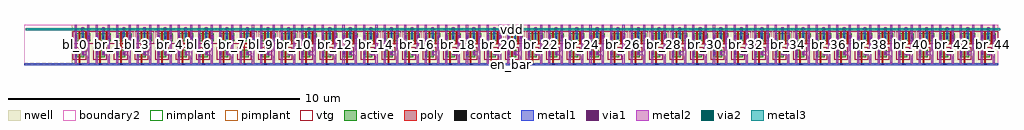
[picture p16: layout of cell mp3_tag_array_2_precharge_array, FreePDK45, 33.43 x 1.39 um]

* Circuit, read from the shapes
.subckt mp3_tag_array_2_precharge_array bl_0 bl_1 bl_10 bl_11 bl_12 bl_13 bl_14 bl_15 bl_16 bl_17 bl_18 bl_19 bl_2 bl_20 bl_21 bl_22 bl_23 bl_24 bl_25 bl_26 bl_27 bl_28 bl_29 bl_3 bl_30 bl_31 bl_32 bl_33 bl_34 bl_35 bl_36 bl_37 bl_38 bl_39 bl_4 bl_40 bl_41 bl_42 bl_43 bl_44 bl_5 bl_6 bl_7 bl_8 bl_9 br_0 br_1 br_10 br_11 br_12 br_13 br_14 br_15 br_16 br_17 br_18 br_19 br_2 br_20 br_21 br_22 br_23 br_24 br_25 br_26 br_27 br_28 br_29 br_3 br_30 br_31 br_32 br_33 br_34 br_35 br_36 br_37 br_38 br_39 br_4 br_40 br_41 br_42 br_43 br_44 br_5 br_6 br_7 br_8 br_9 en_bar vdd
M1 br_0 en_bar bl_0 vdd pfet w=0.27u l=0.05u
M2 vdd en_bar bl_0 vdd pfet w=0.27u l=0.05u
M3 br_0 en_bar vdd vdd pfet w=0.27u l=0.05u
M4 br_1 en_bar bl_1 vdd pfet w=0.27u l=0.05u
M5 vdd en_bar bl_1 vdd pfet w=0.27u l=0.05u
M6 br_1 en_bar vdd vdd pfet w=0.27u l=0.05u
M7 br_2 en_bar bl_2 vdd pfet w=0.27u l=0.05u
M8 vdd en_bar bl_2 vdd pfet w=0.27u l=0.05u
M9 br_2 en_bar vdd vdd pfet w=0.27u l=0.05u
M10 br_3 en_bar bl_3 vdd pfet w=0.27u l=0.05u
M11 vdd en_bar bl_3 vdd pfet w=0.27u l=0.05u
M12 br_3 en_bar vdd vdd pfet w=0.27u l=0.05u
M13 br_4 en_bar bl_4 vdd pfet w=0.27u l=0.05u
M14 vdd en_bar bl_4 vdd pfet w=0.27u l=0.05u
M15 br_4 en_bar vdd vdd pfet w=0.27u l=0.05u
M16 br_5 en_bar bl_5 vdd pfet w=0.27u l=0.05u
M17 vdd en_bar bl_5 vdd pfet w=0.27u l=0.05u
M18 br_5 en_bar vdd vdd pfet w=0.27u l=0.05u
M19 br_6 en_bar bl_6 vdd pfet w=0.27u l=0.05u
M20 vdd en_bar bl_6 vdd pfet w=0.27u l=0.05u
M21 br_6 en_bar vdd vdd pfet w=0.27u l=0.05u
M22 br_7 en_bar bl_7 vdd pfet w=0.27u l=0.05u
M23 vdd en_bar bl_7 vdd pfet w=0.27u l=0.05u
M24 br_7 en_bar vdd vdd pfet w=0.27u l=0.05u
M25 br_8 en_bar bl_8 vdd pfet w=0.27u l=0.05u
M26 vdd en_bar bl_8 vdd pfet w=0.27u l=0.05u
M27 br_8 en_bar vdd vdd pfet w=0.27u l=0.05u
M28 br_9 en_bar bl_9 vdd pfet w=0.27u l=0.05u
M29 vdd en_bar bl_9 vdd pfet w=0.27u l=0.05u
M30 br_9 en_bar vdd vdd pfet w=0.27u l=0.05u
M31 br_10 en_bar bl_10 vdd pfet w=0.27u l=0.05u
M32 vdd en_bar bl_10 vdd pfet w=0.27u l=0.05u
M33 br_10 en_bar vdd vdd pfet w=0.27u l=0.05u
M34 br_11 en_bar bl_11 vdd pfet w=0.27u l=0.05u
M35 vdd en_bar bl_11 vdd pfet w=0.27u l=0.05u
M36 br_11 en_bar vdd vdd pfet w=0.27u l=0.05u
M37 br_12 en_bar bl_12 vdd pfet w=0.27u l=0.05u
M38 vdd en_bar bl_12 vdd pfet w=0.27u l=0.05u
M39 br_12 en_bar vdd vdd pfet w=0.27u l=0.05u
M40 br_13 en_bar bl_13 vdd pfet w=0.27u l=0.05u
M41 vdd en_bar bl_13 vdd pfet w=0.27u l=0.05u
M42 br_13 en_bar vdd vdd pfet w=0.27u l=0.05u
M43 br_14 en_bar bl_14 vdd pfet w=0.27u l=0.05u
M44 vdd en_bar bl_14 vdd pfet w=0.27u l=0.05u
M45 br_14 en_bar vdd vdd pfet w=0.27u l=0.05u
M46 br_15 en_bar bl_15 vdd pfet w=0.27u l=0.05u
M47 vdd en_bar bl_15 vdd pfet w=0.27u l=0.05u
M48 br_15 en_bar vdd vdd pfet w=0.27u l=0.05u
M49 br_16 en_bar bl_16 vdd pfet w=0.27u l=0.05u
M50 vdd en_bar bl_16 vdd pfet w=0.27u l=0.05u
M51 br_16 en_bar vdd vdd pfet w=0.27u l=0.05u
M52 br_17 en_bar bl_17 vdd pfet w=0.27u l=0.05u
M53 vdd en_bar bl_17 vdd pfet w=0.27u l=0.05u
M54 br_17 en_bar vdd vdd pfet w=0.27u l=0.05u
M55 br_18 en_bar bl_18 vdd pfet w=0.27u l=0.05u
M56 vdd en_bar bl_18 vdd pfet w=0.27u l=0.05u
M57 br_18 en_bar vdd vdd pfet w=0.27u l=0.05u
M58 br_19 en_bar bl_19 vdd pfet w=0.27u l=0.05u
M59 vdd en_bar bl_19 vdd pfet w=0.27u l=0.05u
M60 br_19 en_bar vdd vdd pfet w=0.27u l=0.05u
M61 br_20 en_bar bl_20 vdd pfet w=0.27u l=0.05u
M62 vdd en_bar bl_20 vdd pfet w=0.27u l=0.05u
M63 br_20 en_bar vdd vdd pfet w=0.27u l=0.05u
M64 br_21 en_bar bl_21 vdd pfet w=0.27u l=0.05u
M65 vdd en_bar bl_21 vdd pfet w=0.27u l=0.05u
M66 br_21 en_bar vdd vdd pfet w=0.27u l=0.05u
M67 br_22 en_bar bl_22 vdd pfet w=0.27u l=0.05u
M68 vdd en_bar bl_22 vdd pfet w=0.27u l=0.05u
M69 br_22 en_bar vdd vdd pfet w=0.27u l=0.05u
M70 br_23 en_bar bl_23 vdd pfet w=0.27u l=0.05u
M71 vdd en_bar bl_23 vdd pfet w=0.27u l=0.05u
M72 br_23 en_bar vdd vdd pfet w=0.27u l=0.05u
M73 br_24 en_bar bl_24 vdd pfet w=0.27u l=0.05u
M74 vdd en_bar bl_24 vdd pfet w=0.27u l=0.05u
M75 br_24 en_bar vdd vdd pfet w=0.27u l=0.05u
M76 br_25 en_bar bl_25 vdd pfet w=0.27u l=0.05u
M77 vdd en_bar bl_25 vdd pfet w=0.27u l=0.05u
M78 br_25 en_bar vdd vdd pfet w=0.27u l=0.05u
M79 br_26 en_bar bl_26 vdd pfet w=0.27u l=0.05u
M80 vdd en_bar bl_26 vdd pfet w=0.27u l=0.05u
M81 br_26 en_bar vdd vdd pfet w=0.27u l=0.05u
M82 br_27 en_bar bl_27 vdd pfet w=0.27u l=0.05u
M83 vdd en_bar bl_27 vdd pfet w=0.27u l=0.05u
M84 br_27 en_bar vdd vdd pfet w=0.27u l=0.05u
M85 br_28 en_bar bl_28 vdd pfet w=0.27u l=0.05u
M86 vdd en_bar bl_28 vdd pfet w=0.27u l=0.05u
M87 br_28 en_bar vdd vdd pfet w=0.27u l=0.05u
M88 br_29 en_bar bl_29 vdd pfet w=0.27u l=0.05u
M89 vdd en_bar bl_29 vdd pfet w=0.27u l=0.05u
M90 br_29 en_bar vdd vdd pfet w=0.27u l=0.05u
M91 br_30 en_bar bl_30 vdd pfet w=0.27u l=0.05u
M92 vdd en_bar bl_30 vdd pfet w=0.27u l=0.05u
M93 br_30 en_bar vdd vdd pfet w=0.27u l=0.05u
M94 br_31 en_bar bl_31 vdd pfet w=0.27u l=0.05u
M95 vdd en_bar bl_31 vdd pfet w=0.27u l=0.05u
M96 br_31 en_bar vdd vdd pfet w=0.27u l=0.05u
M97 br_32 en_bar bl_32 vdd pfet w=0.27u l=0.05u
M98 vdd en_bar bl_32 vdd pfet w=0.27u l=0.05u
M99 br_32 en_bar vdd vdd pfet w=0.27u l=0.05u
M100 br_33 en_bar bl_33 vdd pfet w=0.27u l=0.05u
M101 vdd en_bar bl_33 vdd pfet w=0.27u l=0.05u
M102 br_33 en_bar vdd vdd pfet w=0.27u l=0.05u
M103 br_34 en_bar bl_34 vdd pfet w=0.27u l=0.05u
M104 vdd en_bar bl_34 vdd pfet w=0.27u l=0.05u
M105 br_34 en_bar vdd vdd pfet w=0.27u l=0.05u
M106 br_35 en_bar bl_35 vdd pfet w=0.27u l=0.05u
M107 vdd en_bar bl_35 vdd pfet w=0.27u l=0.05u
M108 br_35 en_bar vdd vdd pfet w=0.27u l=0.05u
M109 br_36 en_bar bl_36 vdd pfet w=0.27u l=0.05u
M110 vdd en_bar bl_36 vdd pfet w=0.27u l=0.05u
M111 br_36 en_bar vdd vdd pfet w=0.27u l=0.05u
M112 br_37 en_bar bl_37 vdd pfet w=0.27u l=0.05u
M113 vdd en_bar bl_37 vdd pfet w=0.27u l=0.05u
M114 br_37 en_bar vdd vdd pfet w=0.27u l=0.05u
M115 br_38 en_bar bl_38 vdd pfet w=0.27u l=0.05u
M116 vdd en_bar bl_38 vdd pfet w=0.27u l=0.05u
M117 br_38 en_bar vdd vdd pfet w=0.27u l=0.05u
M118 br_39 en_bar bl_39 vdd pfet w=0.27u l=0.05u
M119 vdd en_bar bl_39 vdd pfet w=0.27u l=0.05u
M120 br_39 en_bar vdd vdd pfet w=0.27u l=0.05u
M121 br_40 en_bar bl_40 vdd pfet w=0.27u l=0.05u
M122 vdd en_bar bl_40 vdd pfet w=0.27u l=0.05u
M123 br_40 en_bar vdd vdd pfet w=0.27u l=0.05u
M124 br_41 en_bar bl_41 vdd pfet w=0.27u l=0.05u
M125 vdd en_bar bl_41 vdd pfet w=0.27u l=0.05u
M126 br_41 en_bar vdd vdd pfet w=0.27u l=0.05u
M127 br_42 en_bar bl_42 vdd pfet w=0.27u l=0.05u
M128 vdd en_bar bl_42 vdd pfet w=0.27u l=0.05u
M129 br_42 en_bar vdd vdd pfet w=0.27u l=0.05u
M130 br_43 en_bar bl_43 vdd pfet w=0.27u l=0.05u
M131 vdd en_bar bl_43 vdd pfet w=0.27u l=0.05u
M132 br_43 en_bar vdd vdd pfet w=0.27u l=0.05u
M133 br_44 en_bar bl_44 vdd pfet w=0.27u l=0.05u
M134 vdd en_bar bl_44 vdd pfet w=0.27u l=0.05u
M135 br_44 en_bar vdd vdd pfet w=0.27u l=0.05u
.ends

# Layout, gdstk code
import gdstk
lib = gdstk.Library(unit=1e-6, precision=5e-10)
def R(c, l, rs):  # rectangles x0, y0, x1, y1
    for r in rs: c.add(gdstk.rectangle(r[:2], r[2:], *l))
active = (1, 0)
nwell = (3, 0)
nimplant = (4, 0)
pimplant = (5, 0)
vtg = (6, 0)
poly = (9, 0)
contact = (10, 0)
metal1 = (11, 0)
via1 = (12, 0)
metal2 = (13, 0)
via2 = (14, 0)
metal3 = (15, 0)
boundary2 = (239, 0)

mp3_tag_array_2_contact_ = lib.new_cell('mp3_tag_array_2_contact_11')
R(mp3_tag_array_2_contact_, active, [(0,0.0225,0.09,0.1125)])
R(mp3_tag_array_2_contact_, nwell, [(-0.055,-0.0325,0.145,0.1675)])
R(mp3_tag_array_2_contact_, pimplant, [(0,0.0225,0.09,0.1125)])
R(mp3_tag_array_2_contact_, contact, [(0.0125,0.035,0.0775,0.1)])
R(mp3_tag_array_2_contact_, metal1, [(0.0125,0,0.0775,0.135)])
R(mp3_tag_array_2_contact_, boundary2, [(-0.055,-0.0325,0.145,0.1675)])

mp3_tag_array_2_pmos_m1_ = lib.new_cell('mp3_tag_array_2_pmos_m1_w0_270_sm1_dm1')
R(mp3_tag_array_2_pmos_m1_, active, [(0,0,0.305,0.27)])
R(mp3_tag_array_2_pmos_m1_, nwell, [(-0.08,-0.08,0.385,0.35)])
R(mp3_tag_array_2_pmos_m1_, pimplant, [(0,0,0.305,0.27)])
R(mp3_tag_array_2_pmos_m1_, vtg, [(-0.08,-0.08,0.385,0.35)])
R(mp3_tag_array_2_pmos_m1_, poly, [(0.1275,-0.055,0.1775,0.325), (0.1275,-0.055,0.1775,0.325)])
R(mp3_tag_array_2_pmos_m1_, metal1, [(0.0125,0.0675,0.0775,0.2025), (0.2275,0.0675,0.2925,0.2025)])
R(mp3_tag_array_2_pmos_m1_, boundary2, [(-0.08,-0.08,0.385,0.35)])
mp3_tag_array_2_pmos_m1_.add(gdstk.Reference(mp3_tag_array_2_contact_, (0,0.0675)))
mp3_tag_array_2_pmos_m1_.add(gdstk.Reference(mp3_tag_array_2_contact_, (0.215,0.0675)))
mp3_tag_array_2_pmos_m1_.add(gdstk.Label('G', (0.1525,0.135), layer=9, texttype=0))
mp3_tag_array_2_pmos_m1_.add(gdstk.Label('S', (0.045,0.135), layer=11, texttype=0))
mp3_tag_array_2_pmos_m1_.add(gdstk.Label('D', (0.26,0.135), layer=11, texttype=0))

c_mp3_tag_array_2_contact_ = lib.new_cell('mp3_tag_array_2_contact_14')
R(c_mp3_tag_array_2_contact_, poly, [(0.03,0,0.105,0.075)])
R(c_mp3_tag_array_2_contact_, contact, [(0.035,0.005,0.1,0.07)])
R(c_mp3_tag_array_2_contact_, metal1, [(0,0.005,0.135,0.07)])
R(c_mp3_tag_array_2_contact_, boundary2, [(0,0,0.135,0.075)])

c_mp3_tag_array_2_contact__ = lib.new_cell('mp3_tag_array_2_contact_22')
R(c_mp3_tag_array_2_contact__, active, [(0.0225,0,0.1125,0.09)])
R(c_mp3_tag_array_2_contact__, nwell, [(-0.0325,-0.055,0.1675,0.145)])
R(c_mp3_tag_array_2_contact__, nimplant, [(0.0225,0,0.1125,0.09)])
R(c_mp3_tag_array_2_contact__, contact, [(0.035,0.0125,0.1,0.0775)])
R(c_mp3_tag_array_2_contact__, metal1, [(0,0.0125,0.135,0.0775)])
R(c_mp3_tag_array_2_contact__, boundary2, [(-0.0325,-0.055,0.1675,0.145)])

c_mp3_tag_array_2_contact___ = lib.new_cell('mp3_tag_array_2_contact_17')
R(c_mp3_tag_array_2_contact___, metal1, [(0,0.035,0.135,0.1)])
R(c_mp3_tag_array_2_contact___, via1, [(0.035,0.035,0.1,0.1)])
R(c_mp3_tag_array_2_contact___, metal2, [(0.0325,0,0.1025,0.135)])
R(c_mp3_tag_array_2_contact___, boundary2, [(0,0,0.135,0.135)])

c_mp3_tag_array_2_contact____ = lib.new_cell('mp3_tag_array_2_contact_23')
R(c_mp3_tag_array_2_contact____, metal1, [(0.0025,0,0.0675,0.135)])
R(c_mp3_tag_array_2_contact____, via1, [(0.0025,0.035,0.0675,0.1)])
R(c_mp3_tag_array_2_contact____, metal2, [(0,0,0.07,0.135)])
R(c_mp3_tag_array_2_contact____, boundary2, [(0,0,0.07,0.135)])

mp3_tag_array_2_precharg = lib.new_cell('mp3_tag_array_2_precharge_0')
R(mp3_tag_array_2_precharg, nwell, [(0,0,0.705,1.34)])
R(mp3_tag_array_2_precharg, poly, [(0.24,-0.0375,0.29,0.0125), (0.265,-0.0375,0.29,0.0125), (0.24,-0.0125,0.29,0.165), (0.24,0.545,0.29,0.715), (0.24,0.665,0.505,0.715)])
R(mp3_tag_array_2_precharg, metal1, [(0,-0.045,0.705,0.02), (0.34,0.905,0.405,1.185), (0.34,1.1525,0.405,1.2175)])
R(mp3_tag_array_2_precharg, metal2, [(0.105,0,0.175,1.34), (0.105,0,0.175,1.34), (0.53,0,0.6,1.34), (0.53,0,0.6,1.34), (0.14,0.2875,0.1575,0.4225), (0.3725,0.2875,0.565,0.4225), (0.14,0.8375,0.1575,0.9725), (0.565,0.8375,0.5875,0.9725)])
R(mp3_tag_array_2_precharg, boundary2, [(0,0,0.705,1.34)])
mp3_tag_array_2_precharg.add(gdstk.Reference(mp3_tag_array_2_pmos_m1_, (0.1125,0.22)))
mp3_tag_array_2_precharg.add(gdstk.Reference(mp3_tag_array_2_pmos_m1_, (0.1125,0.77)))
mp3_tag_array_2_precharg.add(gdstk.Reference(mp3_tag_array_2_pmos_m1_, (0.3275,0.77)))
mp3_tag_array_2_precharg.add(gdstk.Reference(c_mp3_tag_array_2_contact_, (0.2225,-0.05)))
mp3_tag_array_2_precharg.add(gdstk.Reference(c_mp3_tag_array_2_contact__, (0.305,1.14)))
mp3_tag_array_2_precharg.add(gdstk.Reference(c_mp3_tag_array_2_contact___, (0.305,1.1175)))
mp3_tag_array_2_precharg.add(gdstk.Reference(c_mp3_tag_array_2_contact____, (0.1225,0.2875)))
mp3_tag_array_2_precharg.add(gdstk.Reference(c_mp3_tag_array_2_contact____, (0.3375,0.2875)))
mp3_tag_array_2_precharg.add(gdstk.Reference(c_mp3_tag_array_2_contact____, (0.1225,0.8375)))
mp3_tag_array_2_precharg.add(gdstk.Reference(c_mp3_tag_array_2_contact____, (0.5525,0.8375)))
mp3_tag_array_2_precharg.add(gdstk.Label('en_bar', (0.3525,-0.0125), layer=11, texttype=0))
mp3_tag_array_2_precharg.add(gdstk.Label('vdd', (0.3725,1.185), layer=11, texttype=0))
mp3_tag_array_2_precharg.add(gdstk.Label('bl', (0.14,0.67), layer=13, texttype=0))
mp3_tag_array_2_precharg.add(gdstk.Label('br', (0.565,0.67), layer=13, texttype=0))

c_mp3_tag_array_2_contact_____ = lib.new_cell('mp3_tag_array_2_contact_18')
R(c_mp3_tag_array_2_contact_____, metal2, [(0.0325,0,0.1025,0.135)])
R(c_mp3_tag_array_2_contact_____, via2, [(0.035,0.035,0.1,0.1)])
R(c_mp3_tag_array_2_contact_____, metal3, [(0,0.0325,0.135,0.1025)])
R(c_mp3_tag_array_2_contact_____, boundary2, [(0,0,0.135,0.135)])

c_mp3_tag_array_2_precharg = lib.new_cell('mp3_tag_array_2_precharge_array')
R(c_mp3_tag_array_2_precharg, metal1, [(0,-0.045,33.365,0.02), (1.96,-0.045,2.025,0.02), (1.96,-0.045,2.025,0.02), (2.665,-0.045,2.73,0.02), (2.665,-0.045,2.73,0.02), (3.37,-0.045,3.435,0.02), (3.37,-0.045,3.435,0.02), (4.075,-0.045,4.14,0.02), (4.075,-0.045,4.14,0.02), (4.78,-0.045,4.845,0.02), (4.78,-0.045,4.845,0.02), (5.485,-0.045,5.55,0.02), (5.485,-0.045,5.55,0.02), (6.19,-0.045,6.255,0.02), (6.19,-0.045,6.255,0.02), (6.895,-0.045,6.96,0.02), (6.895,-0.045,6.96,0.02), (7.6,-0.045,7.665,0.02), (7.6,-0.045,7.665,0.02), (8.305,-0.045,8.37,0.02), (8.305,-0.045,8.37,0.02), (9.01,-0.045,9.075,0.02), (9.01,-0.045,9.075,0.02), (9.715,-0.045,9.78,0.02), (9.715,-0.045,9.78,0.02), (10.42,-0.045,10.485,0.02), (10.42,-0.045,10.485,0.02), (11.125,-0.045,11.19,0.02), (11.125,-0.045,11.19,0.02), (11.83,-0.045,11.895,0.02), (11.83,-0.045,11.895,0.02), (12.535,-0.045,12.6,0.02), (12.535,-0.045,12.6,0.02), (13.24,-0.045,13.305,0.02), (13.24,-0.045,13.305,0.02), (13.945,-0.045,14.01,0.02), (13.945,-0.045,14.01,0.02), (14.65,-0.045,14.715,0.02), (14.65,-0.045,14.715,0.02), (15.355,-0.045,15.42,0.02), (15.355,-0.045,15.42,0.02), (16.06,-0.045,16.125,0.02), (16.06,-0.045,16.125,0.02), (16.765,-0.045,16.83,0.02), (16.765,-0.045,16.83,0.02), (17.47,-0.045,17.535,0.02), (17.47,-0.045,17.535,0.02), (18.175,-0.045,18.24,0.02), (18.175,-0.045,18.24,0.02), (18.88,-0.045,18.945,0.02), (18.88,-0.045,18.945,0.02), (19.585,-0.045,19.65,0.02), (19.585,-0.045,19.65,0.02), (20.29,-0.045,20.355,0.02), (20.29,-0.045,20.355,0.02), (20.995,-0.045,21.06,0.02), (20.995,-0.045,21.06,0.02), (21.7,-0.045,21.765,0.02), (21.7,-0.045,21.765,0.02), (22.405,-0.045,22.47,0.02), (22.405,-0.045,22.47,0.02), (23.11,-0.045,23.175,0.02), (23.11,-0.045,23.175,0.02), (23.815,-0.045,23.88,0.02), (23.815,-0.045,23.88,0.02), (24.52,-0.045,24.585,0.02), (24.52,-0.045,24.585,0.02), (25.225,-0.045,25.29,0.02), (25.225,-0.045,25.29,0.02), (25.93,-0.045,25.995,0.02), (25.93,-0.045,25.995,0.02), (26.635,-0.045,26.7,0.02), (26.635,-0.045,26.7,0.02), (27.34,-0.045,27.405,0.02), (27.34,-0.045,27.405,0.02), (28.045,-0.045,28.11,0.02), (28.045,-0.045,28.11,0.02), (28.75,-0.045,28.815,0.02), (28.75,-0.045,28.815,0.02), (29.455,-0.045,29.52,0.02), (29.455,-0.045,29.52,0.02), (30.16,-0.045,30.225,0.02), (30.16,-0.045,30.225,0.02), (30.865,-0.045,30.93,0.02), (30.865,-0.045,30.93,0.02), (31.57,-0.045,31.635,0.02), (31.57,-0.045,31.635,0.02), (32.275,-0.045,32.34,0.02), (32.275,-0.045,32.34,0.02), (32.98,-0.045,33.045,0.02), (32.98,-0.045,33.045,0.02)])
R(c_mp3_tag_array_2_precharg, metal2, [(1.745,0,1.815,1.34), (2.17,0,2.24,1.34), (2.45,0,2.52,1.34), (2.875,0,2.945,1.34), (3.155,0,3.225,1.34), (3.58,0,3.65,1.34), (3.86,0,3.93,1.34), (4.285,0,4.355,1.34), (4.565,0,4.635,1.34), (4.99,0,5.06,1.34), (5.27,0,5.34,1.34), (5.695,0,5.765,1.34), (5.975,0,6.045,1.34), (6.4,0,6.47,1.34), (6.68,0,6.75,1.34), (7.105,0,7.175,1.34), (7.385,0,7.455,1.34), (7.81,0,7.88,1.34), (8.09,0,8.16,1.34), (8.515,0,8.585,1.34), (8.795,0,8.865,1.34), (9.22,0,9.29,1.34), (9.5,0,9.57,1.34), (9.925,0,9.995,1.34), (10.205,0,10.275,1.34), (10.63,0,10.7,1.34), (10.91,0,10.98,1.34), (11.335,0,11.405,1.34), (11.615,0,11.685,1.34), (12.04,0,12.11,1.34), (12.32,0,12.39,1.34), (12.745,0,12.815,1.34), (13.025,0,13.095,1.34), (13.45,0,13.52,1.34), (13.73,0,13.8,1.34), (14.155,0,14.225,1.34), (14.435,0,14.505,1.34), (14.86,0,14.93,1.34), (15.14,0,15.21,1.34), (15.565,0,15.635,1.34), (15.845,0,15.915,1.34), (16.27,0,16.34,1.34), (16.55,0,16.62,1.34), (16.975,0,17.045,1.34), (17.255,0,17.325,1.34), (17.68,0,17.75,1.34), (17.96,0,18.03,1.34), (18.385,0,18.455,1.34), (18.665,0,18.735,1.34), (19.09,0,19.16,1.34), (19.37,0,19.44,1.34), (19.795,0,19.865,1.34), (20.075,0,20.145,1.34), (20.5,0,20.57,1.34), (20.78,0,20.85,1.34), (21.205,0,21.275,1.34), (21.485,0,21.555,1.34), (21.91,0,21.98,1.34), (22.19,0,22.26,1.34), (22.615,0,22.685,1.34), (22.895,0,22.965,1.34), (23.32,0,23.39,1.34), (23.6,0,23.67,1.34), (24.025,0,24.095,1.34), (24.305,0,24.375,1.34), (24.73,0,24.8,1.34), (25.01,0,25.08,1.34), (25.435,0,25.505,1.34), (25.715,0,25.785,1.34), (26.14,0,26.21,1.34), (26.42,0,26.49,1.34), (26.845,0,26.915,1.34), (27.125,0,27.195,1.34), (27.55,0,27.62,1.34), (27.83,0,27.9,1.34), (28.255,0,28.325,1.34), (28.535,0,28.605,1.34), (28.96,0,29.03,1.34), (29.24,0,29.31,1.34), (29.665,0,29.735,1.34), (29.945,0,30.015,1.34), (30.37,0,30.44,1.34), (30.65,0,30.72,1.34), (31.075,0,31.145,1.34), (31.355,0,31.425,1.34), (31.78,0,31.85,1.34), (32.06,0,32.13,1.34), (32.485,0,32.555,1.34), (32.765,0,32.835,1.34), (33.19,0,33.26,1.34)])
R(c_mp3_tag_array_2_precharg, metal3, [(0.0675,1.15,33.4325,1.22)])
R(c_mp3_tag_array_2_precharg, boundary2, [(0,0,33.365,1.34)])
c_mp3_tag_array_2_precharg.add(gdstk.Reference(mp3_tag_array_2_precharg, (1.64,0)))
c_mp3_tag_array_2_precharg.add(gdstk.Reference(mp3_tag_array_2_precharg, (2.345,0)))
c_mp3_tag_array_2_precharg.add(gdstk.Reference(mp3_tag_array_2_precharg, (3.05,0)))
c_mp3_tag_array_2_precharg.add(gdstk.Reference(mp3_tag_array_2_precharg, (3.755,0)))
c_mp3_tag_array_2_precharg.add(gdstk.Reference(mp3_tag_array_2_precharg, (4.46,0)))
c_mp3_tag_array_2_precharg.add(gdstk.Reference(mp3_tag_array_2_precharg, (5.165,0)))
c_mp3_tag_array_2_precharg.add(gdstk.Reference(mp3_tag_array_2_precharg, (5.87,0)))
c_mp3_tag_array_2_precharg.add(gdstk.Reference(mp3_tag_array_2_precharg, (6.575,0)))
c_mp3_tag_array_2_precharg.add(gdstk.Reference(mp3_tag_array_2_precharg, (7.28,0)))
c_mp3_tag_array_2_precharg.add(gdstk.Reference(mp3_tag_array_2_precharg, (7.985,0)))
c_mp3_tag_array_2_precharg.add(gdstk.Reference(mp3_tag_array_2_precharg, (8.69,0)))
c_mp3_tag_array_2_precharg.add(gdstk.Reference(mp3_tag_array_2_precharg, (9.395,0)))
c_mp3_tag_array_2_precharg.add(gdstk.Reference(mp3_tag_array_2_precharg, (10.1,0)))
c_mp3_tag_array_2_precharg.add(gdstk.Reference(mp3_tag_array_2_precharg, (10.805,0)))
c_mp3_tag_array_2_precharg.add(gdstk.Reference(mp3_tag_array_2_precharg, (11.51,0)))
c_mp3_tag_array_2_precharg.add(gdstk.Reference(mp3_tag_array_2_precharg, (12.215,0)))
c_mp3_tag_array_2_precharg.add(gdstk.Reference(mp3_tag_array_2_precharg, (12.92,0)))
c_mp3_tag_array_2_precharg.add(gdstk.Reference(mp3_tag_array_2_precharg, (13.625,0)))
c_mp3_tag_array_2_precharg.add(gdstk.Reference(mp3_tag_array_2_precharg, (14.33,0)))
c_mp3_tag_array_2_precharg.add(gdstk.Reference(mp3_tag_array_2_precharg, (15.035,0)))
c_mp3_tag_array_2_precharg.add(gdstk.Reference(mp3_tag_array_2_precharg, (15.74,0)))
c_mp3_tag_array_2_precharg.add(gdstk.Reference(mp3_tag_array_2_precharg, (16.445,0)))
c_mp3_tag_array_2_precharg.add(gdstk.Reference(mp3_tag_array_2_precharg, (17.15,0)))
c_mp3_tag_array_2_precharg.add(gdstk.Reference(mp3_tag_array_2_precharg, (17.855,0)))
c_mp3_tag_array_2_precharg.add(gdstk.Reference(mp3_tag_array_2_precharg, (18.56,0)))
c_mp3_tag_array_2_precharg.add(gdstk.Reference(mp3_tag_array_2_precharg, (19.265,0)))
c_mp3_tag_array_2_precharg.add(gdstk.Reference(mp3_tag_array_2_precharg, (19.97,0)))
c_mp3_tag_array_2_precharg.add(gdstk.Reference(mp3_tag_array_2_precharg, (20.675,0)))
c_mp3_tag_array_2_precharg.add(gdstk.Reference(mp3_tag_array_2_precharg, (21.38,0)))
c_mp3_tag_array_2_precharg.add(gdstk.Reference(mp3_tag_array_2_precharg, (22.085,0)))
c_mp3_tag_array_2_precharg.add(gdstk.Reference(mp3_tag_array_2_precharg, (22.79,0)))
c_mp3_tag_array_2_precharg.add(gdstk.Reference(mp3_tag_array_2_precharg, (23.495,0)))
c_mp3_tag_array_2_precharg.add(gdstk.Reference(mp3_tag_array_2_precharg, (24.2,0)))
c_mp3_tag_array_2_precharg.add(gdstk.Reference(mp3_tag_array_2_precharg, (24.905,0)))
c_mp3_tag_array_2_precharg.add(gdstk.Reference(mp3_tag_array_2_precharg, (25.61,0)))
c_mp3_tag_array_2_precharg.add(gdstk.Reference(mp3_tag_array_2_precharg, (26.315,0)))
c_mp3_tag_array_2_precharg.add(gdstk.Reference(mp3_tag_array_2_precharg, (27.02,0)))
c_mp3_tag_array_2_precharg.add(gdstk.Reference(mp3_tag_array_2_precharg, (27.725,0)))
c_mp3_tag_array_2_precharg.add(gdstk.Reference(mp3_tag_array_2_precharg, (28.43,0)))
c_mp3_tag_array_2_precharg.add(gdstk.Reference(mp3_tag_array_2_precharg, (29.135,0)))
c_mp3_tag_array_2_precharg.add(gdstk.Reference(mp3_tag_array_2_precharg, (29.84,0)))
c_mp3_tag_array_2_precharg.add(gdstk.Reference(mp3_tag_array_2_precharg, (30.545,0)))
c_mp3_tag_array_2_precharg.add(gdstk.Reference(mp3_tag_array_2_precharg, (31.25,0)))
c_mp3_tag_array_2_precharg.add(gdstk.Reference(mp3_tag_array_2_precharg, (31.955,0)))
c_mp3_tag_array_2_precharg.add(gdstk.Reference(mp3_tag_array_2_precharg, (32.66,0)))
c_mp3_tag_array_2_precharg.add(gdstk.Reference(c_mp3_tag_array_2_contact___, (1.945,1.1175)))
c_mp3_tag_array_2_precharg.add(gdstk.Reference(c_mp3_tag_array_2_contact_____, (1.945,1.1175)))
c_mp3_tag_array_2_precharg.add(gdstk.Reference(c_mp3_tag_array_2_contact___, (2.65,1.1175)))
c_mp3_tag_array_2_precharg.add(gdstk.Reference(c_mp3_tag_array_2_contact_____, (2.65,1.1175)))
c_mp3_tag_array_2_precharg.add(gdstk.Reference(c_mp3_tag_array_2_contact___, (3.355,1.1175)))
c_mp3_tag_array_2_precharg.add(gdstk.Reference(c_mp3_tag_array_2_contact_____, (3.355,1.1175)))
c_mp3_tag_array_2_precharg.add(gdstk.Reference(c_mp3_tag_array_2_contact___, (4.06,1.1175)))
c_mp3_tag_array_2_precharg.add(gdstk.Reference(c_mp3_tag_array_2_contact_____, (4.06,1.1175)))
c_mp3_tag_array_2_precharg.add(gdstk.Reference(c_mp3_tag_array_2_contact___, (4.765,1.1175)))
c_mp3_tag_array_2_precharg.add(gdstk.Reference(c_mp3_tag_array_2_contact_____, (4.765,1.1175)))
c_mp3_tag_array_2_precharg.add(gdstk.Reference(c_mp3_tag_array_2_contact___, (5.47,1.1175)))
c_mp3_tag_array_2_precharg.add(gdstk.Reference(c_mp3_tag_array_2_contact_____, (5.47,1.1175)))
c_mp3_tag_array_2_precharg.add(gdstk.Reference(c_mp3_tag_array_2_contact___, (6.175,1.1175)))
c_mp3_tag_array_2_precharg.add(gdstk.Reference(c_mp3_tag_array_2_contact_____, (6.175,1.1175)))
c_mp3_tag_array_2_precharg.add(gdstk.Reference(c_mp3_tag_array_2_contact___, (6.88,1.1175)))
c_mp3_tag_array_2_precharg.add(gdstk.Reference(c_mp3_tag_array_2_contact_____, (6.88,1.1175)))
c_mp3_tag_array_2_precharg.add(gdstk.Reference(c_mp3_tag_array_2_contact___, (7.585,1.1175)))
c_mp3_tag_array_2_precharg.add(gdstk.Reference(c_mp3_tag_array_2_contact_____, (7.585,1.1175)))
c_mp3_tag_array_2_precharg.add(gdstk.Reference(c_mp3_tag_array_2_contact___, (8.29,1.1175)))
c_mp3_tag_array_2_precharg.add(gdstk.Reference(c_mp3_tag_array_2_contact_____, (8.29,1.1175)))
c_mp3_tag_array_2_precharg.add(gdstk.Reference(c_mp3_tag_array_2_contact___, (8.995,1.1175)))
c_mp3_tag_array_2_precharg.add(gdstk.Reference(c_mp3_tag_array_2_contact_____, (8.995,1.1175)))
c_mp3_tag_array_2_precharg.add(gdstk.Reference(c_mp3_tag_array_2_contact___, (9.7,1.1175)))
c_mp3_tag_array_2_precharg.add(gdstk.Reference(c_mp3_tag_array_2_contact_____, (9.7,1.1175)))
c_mp3_tag_array_2_precharg.add(gdstk.Reference(c_mp3_tag_array_2_contact___, (10.405,1.1175)))
c_mp3_tag_array_2_precharg.add(gdstk.Reference(c_mp3_tag_array_2_contact_____, (10.405,1.1175)))
c_mp3_tag_array_2_precharg.add(gdstk.Reference(c_mp3_tag_array_2_contact___, (11.11,1.1175)))
c_mp3_tag_array_2_precharg.add(gdstk.Reference(c_mp3_tag_array_2_contact_____, (11.11,1.1175)))
c_mp3_tag_array_2_precharg.add(gdstk.Reference(c_mp3_tag_array_2_contact___, (11.815,1.1175)))
c_mp3_tag_array_2_precharg.add(gdstk.Reference(c_mp3_tag_array_2_contact_____, (11.815,1.1175)))
c_mp3_tag_array_2_precharg.add(gdstk.Reference(c_mp3_tag_array_2_contact___, (12.52,1.1175)))
c_mp3_tag_array_2_precharg.add(gdstk.Reference(c_mp3_tag_array_2_contact_____, (12.52,1.1175)))
c_mp3_tag_array_2_precharg.add(gdstk.Reference(c_mp3_tag_array_2_contact___, (13.225,1.1175)))
c_mp3_tag_array_2_precharg.add(gdstk.Reference(c_mp3_tag_array_2_contact_____, (13.225,1.1175)))
c_mp3_tag_array_2_precharg.add(gdstk.Reference(c_mp3_tag_array_2_contact___, (13.93,1.1175)))
c_mp3_tag_array_2_precharg.add(gdstk.Reference(c_mp3_tag_array_2_contact_____, (13.93,1.1175)))
c_mp3_tag_array_2_precharg.add(gdstk.Reference(c_mp3_tag_array_2_contact___, (14.635,1.1175)))
c_mp3_tag_array_2_precharg.add(gdstk.Reference(c_mp3_tag_array_2_contact_____, (14.635,1.1175)))
c_mp3_tag_array_2_precharg.add(gdstk.Reference(c_mp3_tag_array_2_contact___, (15.34,1.1175)))
c_mp3_tag_array_2_precharg.add(gdstk.Reference(c_mp3_tag_array_2_contact_____, (15.34,1.1175)))
c_mp3_tag_array_2_precharg.add(gdstk.Reference(c_mp3_tag_array_2_contact___, (16.045,1.1175)))
c_mp3_tag_array_2_precharg.add(gdstk.Reference(c_mp3_tag_array_2_contact_____, (16.045,1.1175)))
c_mp3_tag_array_2_precharg.add(gdstk.Reference(c_mp3_tag_array_2_contact___, (16.75,1.1175)))
c_mp3_tag_array_2_precharg.add(gdstk.Reference(c_mp3_tag_array_2_contact_____, (16.75,1.1175)))
c_mp3_tag_array_2_precharg.add(gdstk.Reference(c_mp3_tag_array_2_contact___, (17.455,1.1175)))
c_mp3_tag_array_2_precharg.add(gdstk.Reference(c_mp3_tag_array_2_contact_____, (17.455,1.1175)))
c_mp3_tag_array_2_precharg.add(gdstk.Reference(c_mp3_tag_array_2_contact___, (18.16,1.1175)))
c_mp3_tag_array_2_precharg.add(gdstk.Reference(c_mp3_tag_array_2_contact_____, (18.16,1.1175)))
c_mp3_tag_array_2_precharg.add(gdstk.Reference(c_mp3_tag_array_2_contact___, (18.865,1.1175)))
c_mp3_tag_array_2_precharg.add(gdstk.Reference(c_mp3_tag_array_2_contact_____, (18.865,1.1175)))
c_mp3_tag_array_2_precharg.add(gdstk.Reference(c_mp3_tag_array_2_contact___, (19.57,1.1175)))
c_mp3_tag_array_2_precharg.add(gdstk.Reference(c_mp3_tag_array_2_contact_____, (19.57,1.1175)))
c_mp3_tag_array_2_precharg.add(gdstk.Reference(c_mp3_tag_array_2_contact___, (20.275,1.1175)))
c_mp3_tag_array_2_precharg.add(gdstk.Reference(c_mp3_tag_array_2_contact_____, (20.275,1.1175)))
c_mp3_tag_array_2_precharg.add(gdstk.Reference(c_mp3_tag_array_2_contact___, (20.98,1.1175)))
c_mp3_tag_array_2_precharg.add(gdstk.Reference(c_mp3_tag_array_2_contact_____, (20.98,1.1175)))
c_mp3_tag_array_2_precharg.add(gdstk.Reference(c_mp3_tag_array_2_contact___, (21.685,1.1175)))
c_mp3_tag_array_2_precharg.add(gdstk.Reference(c_mp3_tag_array_2_contact_____, (21.685,1.1175)))
c_mp3_tag_array_2_precharg.add(gdstk.Reference(c_mp3_tag_array_2_contact___, (22.39,1.1175)))
c_mp3_tag_array_2_precharg.add(gdstk.Reference(c_mp3_tag_array_2_contact_____, (22.39,1.1175)))
c_mp3_tag_array_2_precharg.add(gdstk.Reference(c_mp3_tag_array_2_contact___, (23.095,1.1175)))
c_mp3_tag_array_2_precharg.add(gdstk.Reference(c_mp3_tag_array_2_contact_____, (23.095,1.1175)))
c_mp3_tag_array_2_precharg.add(gdstk.Reference(c_mp3_tag_array_2_contact___, (23.8,1.1175)))
c_mp3_tag_array_2_precharg.add(gdstk.Reference(c_mp3_tag_array_2_contact_____, (23.8,1.1175)))
c_mp3_tag_array_2_precharg.add(gdstk.Reference(c_mp3_tag_array_2_contact___, (24.505,1.1175)))
c_mp3_tag_array_2_precharg.add(gdstk.Reference(c_mp3_tag_array_2_contact_____, (24.505,1.1175)))
c_mp3_tag_array_2_precharg.add(gdstk.Reference(c_mp3_tag_array_2_contact___, (25.21,1.1175)))
c_mp3_tag_array_2_precharg.add(gdstk.Reference(c_mp3_tag_array_2_contact_____, (25.21,1.1175)))
c_mp3_tag_array_2_precharg.add(gdstk.Reference(c_mp3_tag_array_2_contact___, (25.915,1.1175)))
c_mp3_tag_array_2_precharg.add(gdstk.Reference(c_mp3_tag_array_2_contact_____, (25.915,1.1175)))
c_mp3_tag_array_2_precharg.add(gdstk.Reference(c_mp3_tag_array_2_contact___, (26.62,1.1175)))
c_mp3_tag_array_2_precharg.add(gdstk.Reference(c_mp3_tag_array_2_contact_____, (26.62,1.1175)))
c_mp3_tag_array_2_precharg.add(gdstk.Reference(c_mp3_tag_array_2_contact___, (27.325,1.1175)))
c_mp3_tag_array_2_precharg.add(gdstk.Reference(c_mp3_tag_array_2_contact_____, (27.325,1.1175)))
c_mp3_tag_array_2_precharg.add(gdstk.Reference(c_mp3_tag_array_2_contact___, (28.03,1.1175)))
c_mp3_tag_array_2_precharg.add(gdstk.Reference(c_mp3_tag_array_2_contact_____, (28.03,1.1175)))
c_mp3_tag_array_2_precharg.add(gdstk.Reference(c_mp3_tag_array_2_contact___, (28.735,1.1175)))
c_mp3_tag_array_2_precharg.add(gdstk.Reference(c_mp3_tag_array_2_contact_____, (28.735,1.1175)))
c_mp3_tag_array_2_precharg.add(gdstk.Reference(c_mp3_tag_array_2_contact___, (29.44,1.1175)))
c_mp3_tag_array_2_precharg.add(gdstk.Reference(c_mp3_tag_array_2_contact_____, (29.44,1.1175)))
c_mp3_tag_array_2_precharg.add(gdstk.Reference(c_mp3_tag_array_2_contact___, (30.145,1.1175)))
c_mp3_tag_array_2_precharg.add(gdstk.Reference(c_mp3_tag_array_2_contact_____, (30.145,1.1175)))
c_mp3_tag_array_2_precharg.add(gdstk.Reference(c_mp3_tag_array_2_contact___, (30.85,1.1175)))
c_mp3_tag_array_2_precharg.add(gdstk.Reference(c_mp3_tag_array_2_contact_____, (30.85,1.1175)))
c_mp3_tag_array_2_precharg.add(gdstk.Reference(c_mp3_tag_array_2_contact___, (31.555,1.1175)))
c_mp3_tag_array_2_precharg.add(gdstk.Reference(c_mp3_tag_array_2_contact_____, (31.555,1.1175)))
c_mp3_tag_array_2_precharg.add(gdstk.Reference(c_mp3_tag_array_2_contact___, (32.26,1.1175)))
c_mp3_tag_array_2_precharg.add(gdstk.Reference(c_mp3_tag_array_2_contact_____, (32.26,1.1175)))
c_mp3_tag_array_2_precharg.add(gdstk.Reference(c_mp3_tag_array_2_contact___, (32.965,1.1175)))
c_mp3_tag_array_2_precharg.add(gdstk.Reference(c_mp3_tag_array_2_contact_____, (32.965,1.1175)))
c_mp3_tag_array_2_precharg.add(gdstk.Label('en_bar', (16.6825,-0.0125), layer=11, texttype=0))
c_mp3_tag_array_2_precharg.add(gdstk.Label('bl_0', (1.78,0.67), layer=13, texttype=0))
c_mp3_tag_array_2_precharg.add(gdstk.Label('br_0', (2.205,0.67), layer=13, texttype=0))
c_mp3_tag_array_2_precharg.add(gdstk.Label('bl_1', (2.485,0.67), layer=13, texttype=0))
c_mp3_tag_array_2_precharg.add(gdstk.Label('br_1', (2.91,0.67), layer=13, texttype=0))
c_mp3_tag_array_2_precharg.add(gdstk.Label('bl_2', (3.19,0.67), layer=13, texttype=0))
c_mp3_tag_array_2_precharg.add(gdstk.Label('br_2', (3.615,0.67), layer=13, texttype=0))
c_mp3_tag_array_2_precharg.add(gdstk.Label('bl_3', (3.895,0.67), layer=13, texttype=0))
c_mp3_tag_array_2_precharg.add(gdstk.Label('br_3', (4.32,0.67), layer=13, texttype=0))
c_mp3_tag_array_2_precharg.add(gdstk.Label('bl_4', (4.6,0.67), layer=13, texttype=0))
c_mp3_tag_array_2_precharg.add(gdstk.Label('br_4', (5.025,0.67), layer=13, texttype=0))
c_mp3_tag_array_2_precharg.add(gdstk.Label('bl_5', (5.305,0.67), layer=13, texttype=0))
c_mp3_tag_array_2_precharg.add(gdstk.Label('br_5', (5.73,0.67), layer=13, texttype=0))
c_mp3_tag_array_2_precharg.add(gdstk.Label('bl_6', (6.01,0.67), layer=13, texttype=0))
c_mp3_tag_array_2_precharg.add(gdstk.Label('br_6', (6.435,0.67), layer=13, texttype=0))
c_mp3_tag_array_2_precharg.add(gdstk.Label('bl_7', (6.715,0.67), layer=13, texttype=0))
c_mp3_tag_array_2_precharg.add(gdstk.Label('br_7', (7.14,0.67), layer=13, texttype=0))
c_mp3_tag_array_2_precharg.add(gdstk.Label('bl_8', (7.42,0.67), layer=13, texttype=0))
c_mp3_tag_array_2_precharg.add(gdstk.Label('br_8', (7.845,0.67), layer=13, texttype=0))
c_mp3_tag_array_2_precharg.add(gdstk.Label('bl_9', (8.125,0.67), layer=13, texttype=0))
c_mp3_tag_array_2_precharg.add(gdstk.Label('br_9', (8.55,0.67), layer=13, texttype=0))
c_mp3_tag_array_2_precharg.add(gdstk.Label('bl_10', (8.83,0.67), layer=13, texttype=0))
c_mp3_tag_array_2_precharg.add(gdstk.Label('br_10', (9.255,0.67), layer=13, texttype=0))
c_mp3_tag_array_2_precharg.add(gdstk.Label('bl_11', (9.535,0.67), layer=13, texttype=0))
c_mp3_tag_array_2_precharg.add(gdstk.Label('br_11', (9.96,0.67), layer=13, texttype=0))
c_mp3_tag_array_2_precharg.add(gdstk.Label('bl_12', (10.24,0.67), layer=13, texttype=0))
c_mp3_tag_array_2_precharg.add(gdstk.Label('br_12', (10.665,0.67), layer=13, texttype=0))
c_mp3_tag_array_2_precharg.add(gdstk.Label('bl_13', (10.945,0.67), layer=13, texttype=0))
c_mp3_tag_array_2_precharg.add(gdstk.Label('br_13', (11.37,0.67), layer=13, texttype=0))
c_mp3_tag_array_2_precharg.add(gdstk.Label('bl_14', (11.65,0.67), layer=13, texttype=0))
c_mp3_tag_array_2_precharg.add(gdstk.Label('br_14', (12.075,0.67), layer=13, texttype=0))
c_mp3_tag_array_2_precharg.add(gdstk.Label('bl_15', (12.355,0.67), layer=13, texttype=0))
c_mp3_tag_array_2_precharg.add(gdstk.Label('br_15', (12.78,0.67), layer=13, texttype=0))
c_mp3_tag_array_2_precharg.add(gdstk.Label('bl_16', (13.06,0.67), layer=13, texttype=0))
c_mp3_tag_array_2_precharg.add(gdstk.Label('br_16', (13.485,0.67), layer=13, texttype=0))
c_mp3_tag_array_2_precharg.add(gdstk.Label('bl_17', (13.765,0.67), layer=13, texttype=0))
c_mp3_tag_array_2_precharg.add(gdstk.Label('br_17', (14.19,0.67), layer=13, texttype=0))
c_mp3_tag_array_2_precharg.add(gdstk.Label('bl_18', (14.47,0.67), layer=13, texttype=0))
c_mp3_tag_array_2_precharg.add(gdstk.Label('br_18', (14.895,0.67), layer=13, texttype=0))
c_mp3_tag_array_2_precharg.add(gdstk.Label('bl_19', (15.175,0.67), layer=13, texttype=0))
c_mp3_tag_array_2_precharg.add(gdstk.Label('br_19', (15.6,0.67), layer=13, texttype=0))
c_mp3_tag_array_2_precharg.add(gdstk.Label('bl_20', (15.88,0.67), layer=13, texttype=0))
c_mp3_tag_array_2_precharg.add(gdstk.Label('br_20', (16.305,0.67), layer=13, texttype=0))
c_mp3_tag_array_2_precharg.add(gdstk.Label('bl_21', (16.585,0.67), layer=13, texttype=0))
c_mp3_tag_array_2_precharg.add(gdstk.Label('br_21', (17.01,0.67), layer=13, texttype=0))
c_mp3_tag_array_2_precharg.add(gdstk.Label('bl_22', (17.29,0.67), layer=13, texttype=0))
c_mp3_tag_array_2_precharg.add(gdstk.Label('br_22', (17.715,0.67), layer=13, texttype=0))
c_mp3_tag_array_2_precharg.add(gdstk.Label('bl_23', (17.995,0.67), layer=13, texttype=0))
c_mp3_tag_array_2_precharg.add(gdstk.Label('br_23', (18.42,0.67), layer=13, texttype=0))
c_mp3_tag_array_2_precharg.add(gdstk.Label('bl_24', (18.7,0.67), layer=13, texttype=0))
c_mp3_tag_array_2_precharg.add(gdstk.Label('br_24', (19.125,0.67), layer=13, texttype=0))
c_mp3_tag_array_2_precharg.add(gdstk.Label('bl_25', (19.405,0.67), layer=13, texttype=0))
c_mp3_tag_array_2_precharg.add(gdstk.Label('br_25', (19.83,0.67), layer=13, texttype=0))
c_mp3_tag_array_2_precharg.add(gdstk.Label('bl_26', (20.11,0.67), layer=13, texttype=0))
c_mp3_tag_array_2_precharg.add(gdstk.Label('br_26', (20.535,0.67), layer=13, texttype=0))
c_mp3_tag_array_2_precharg.add(gdstk.Label('bl_27', (20.815,0.67), layer=13, texttype=0))
c_mp3_tag_array_2_precharg.add(gdstk.Label('br_27', (21.24,0.67), layer=13, texttype=0))
c_mp3_tag_array_2_precharg.add(gdstk.Label('bl_28', (21.52,0.67), layer=13, texttype=0))
c_mp3_tag_array_2_precharg.add(gdstk.Label('br_28', (21.945,0.67), layer=13, texttype=0))
c_mp3_tag_array_2_precharg.add(gdstk.Label('bl_29', (22.225,0.67), layer=13, texttype=0))
c_mp3_tag_array_2_precharg.add(gdstk.Label('br_29', (22.65,0.67), layer=13, texttype=0))
c_mp3_tag_array_2_precharg.add(gdstk.Label('bl_30', (22.93,0.67), layer=13, texttype=0))
c_mp3_tag_array_2_precharg.add(gdstk.Label('br_30', (23.355,0.67), layer=13, texttype=0))
c_mp3_tag_array_2_precharg.add(gdstk.Label('bl_31', (23.635,0.67), layer=13, texttype=0))
c_mp3_tag_array_2_precharg.add(gdstk.Label('br_31', (24.06,0.67), layer=13, texttype=0))
c_mp3_tag_array_2_precharg.add(gdstk.Label('bl_32', (24.34,0.67), layer=13, texttype=0))
c_mp3_tag_array_2_precharg.add(gdstk.Label('br_32', (24.765,0.67), layer=13, texttype=0))
c_mp3_tag_array_2_precharg.add(gdstk.Label('bl_33', (25.045,0.67), layer=13, texttype=0))
c_mp3_tag_array_2_precharg.add(gdstk.Label('br_33', (25.47,0.67), layer=13, texttype=0))
c_mp3_tag_array_2_precharg.add(gdstk.Label('bl_34', (25.75,0.67), layer=13, texttype=0))
c_mp3_tag_array_2_precharg.add(gdstk.Label('br_34', (26.175,0.67), layer=13, texttype=0))
c_mp3_tag_array_2_precharg.add(gdstk.Label('bl_35', (26.455,0.67), layer=13, texttype=0))
c_mp3_tag_array_2_precharg.add(gdstk.Label('br_35', (26.88,0.67), layer=13, texttype=0))
c_mp3_tag_array_2_precharg.add(gdstk.Label('bl_36', (27.16,0.67), layer=13, texttype=0))
c_mp3_tag_array_2_precharg.add(gdstk.Label('br_36', (27.585,0.67), layer=13, texttype=0))
c_mp3_tag_array_2_precharg.add(gdstk.Label('bl_37', (27.865,0.67), layer=13, texttype=0))
c_mp3_tag_array_2_precharg.add(gdstk.Label('br_37', (28.29,0.67), layer=13, texttype=0))
c_mp3_tag_array_2_precharg.add(gdstk.Label('bl_38', (28.57,0.67), layer=13, texttype=0))
c_mp3_tag_array_2_precharg.add(gdstk.Label('br_38', (28.995,0.67), layer=13, texttype=0))
c_mp3_tag_array_2_precharg.add(gdstk.Label('bl_39', (29.275,0.67), layer=13, texttype=0))
c_mp3_tag_array_2_precharg.add(gdstk.Label('br_39', (29.7,0.67), layer=13, texttype=0))
c_mp3_tag_array_2_precharg.add(gdstk.Label('bl_40', (29.98,0.67), layer=13, texttype=0))
c_mp3_tag_array_2_precharg.add(gdstk.Label('br_40', (30.405,0.67), layer=13, texttype=0))
c_mp3_tag_array_2_precharg.add(gdstk.Label('bl_41', (30.685,0.67), layer=13, texttype=0))
c_mp3_tag_array_2_precharg.add(gdstk.Label('br_41', (31.11,0.67), layer=13, texttype=0))
c_mp3_tag_array_2_precharg.add(gdstk.Label('bl_42', (31.39,0.67), layer=13, texttype=0))
c_mp3_tag_array_2_precharg.add(gdstk.Label('br_42', (31.815,0.67), layer=13, texttype=0))
c_mp3_tag_array_2_precharg.add(gdstk.Label('bl_43', (32.095,0.67), layer=13, texttype=0))
c_mp3_tag_array_2_precharg.add(gdstk.Label('br_43', (32.52,0.67), layer=13, texttype=0))
c_mp3_tag_array_2_precharg.add(gdstk.Label('bl_44', (32.8,0.67), layer=13, texttype=0))
c_mp3_tag_array_2_precharg.add(gdstk.Label('br_44', (33.225,0.67), layer=13, texttype=0))
c_mp3_tag_array_2_precharg.add(gdstk.Label('vdd', (16.75,1.185), layer=15, texttype=0))

lib.write_gds('mp3_tag_array_2_precharge_array.gds')
